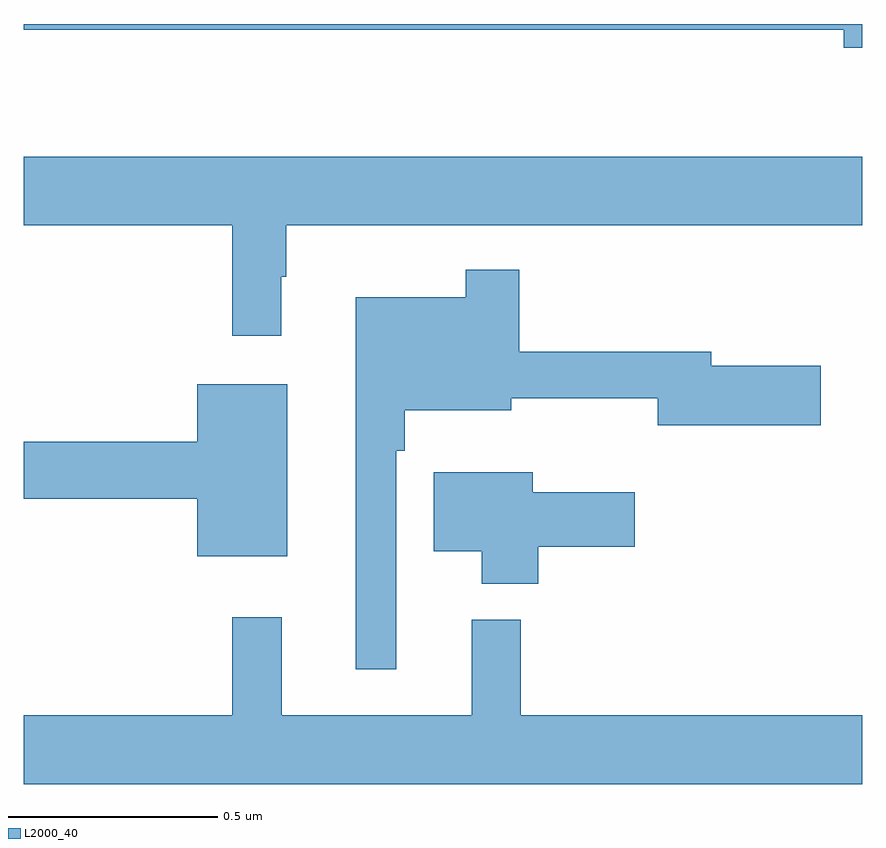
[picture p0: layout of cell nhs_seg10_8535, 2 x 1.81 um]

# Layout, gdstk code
import gdstk
lib = gdstk.Library(unit=1e-6, precision=1e-09)
def P(c, l, *ps):  # polygons
    for p in ps: c.add(gdstk.Polygon(p, *l))
L2000_40 = (2000, 40)

nhs_seg10_8535 = lib.new_cell('nhs_seg10_8535')
P(nhs_seg10_8535, L2000_40, [(220,1263.5),(218,1263.5),(218,1263.486),(219.956,1263.486),(219.956,1263.443),(220,1263.443)],
  [(218.614,1262.897),(218.626,1262.897),(218.626,1263.02),(220,1263.02),(220,1263.184),(218,1263.184),(218,1263.02),(218.497,1263.02),(218.497,1262.757),(218.614,1262.757)],
  [(218.889,1262.483),(218.909,1262.483),(218.909,1262.579),(219.163,1262.579),(219.163,1262.608),(219.512,1262.608),(219.512,1262.543),(219.901,1262.543),(219.901,1262.685),(219.64,1262.685),(219.64,1262.719),(219.182,1262.719),(219.182,1262.914),(219.054,1262.914),(219.054,1262.848),(218.792,1262.848),(218.792,1261.962),(218.889,1261.962)],
  [(218.629,1262.641),(218.414,1262.641),(218.414,1262.504),(218,1262.504),(218,1262.368),(218.414,1262.368),(218.414,1262.231),(218.629,1262.231)],
  [(219.227,1262.254),(219.457,1262.254),(219.457,1262.383),(219.214,1262.383),(219.214,1262.431),(218.978,1262.431),(218.978,1262.243),(219.092,1262.243),(219.092,1262.165),(219.227,1262.165)],
  [(220,1261.852),(219.185,1261.852),(219.185,1262.08),(219.068,1262.08),(219.068,1261.852),(218.615,1261.852),(218.615,1262.086),(218.497,1262.086),(218.497,1261.852),(218,1261.852),(218,1261.688),(220,1261.688)])

lib.write_gds('nhs_seg10_8535.gds')
